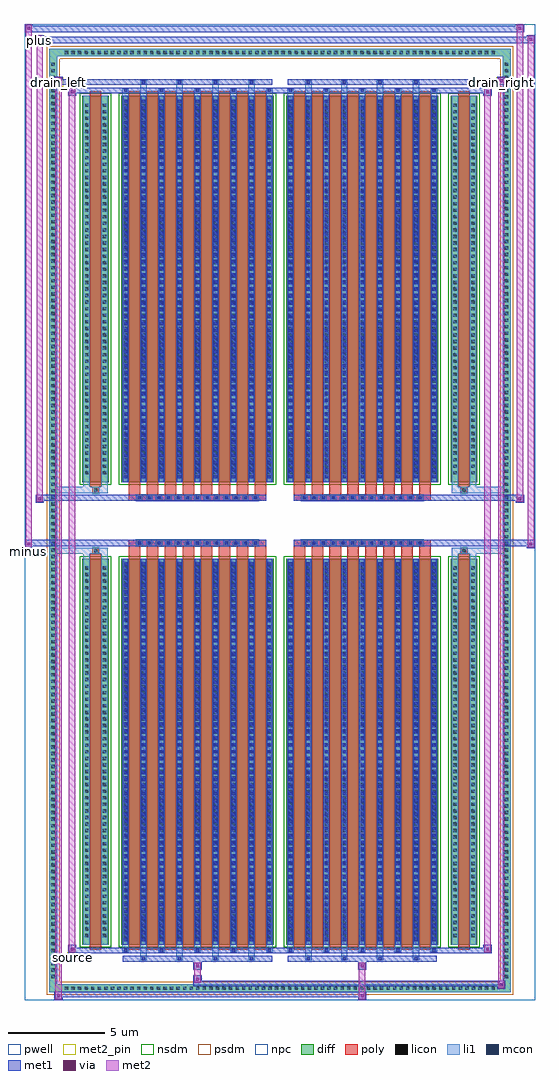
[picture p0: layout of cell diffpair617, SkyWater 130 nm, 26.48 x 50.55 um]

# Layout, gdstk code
import gdstk
lib = gdstk.Library(unit=1e-6, precision=5e-09)
def R(c, l, rs):  # rectangles x0, y0, x1, y1
    for r in rs: c.add(gdstk.rectangle(r[:2], r[2:], *l))
def A(c, l, x, y, w, h, nx, ny, dx, dy):  # array of equal rectangles
    R(c, l, [(x+i*dx, y+j*dy, x+i*dx+w, y+j*dy+h) for i in range(nx) for j in range(ny)])
def P(c, l, *ps):  # polygons
    for p in ps: c.add(gdstk.Polygon(p, *l))
pwell = (64, 44)
diff = (65, 20)
poly = (66, 20)
licon = (66, 44)
li1 = (67, 20)
mcon = (67, 44)
met1 = (68, 20)
via = (68, 44)
met2_pin = (69, 16)
met2 = (69, 20)
nsdm = (93, 44)
psdm = (94, 20)
npc = (95, 20)

diffpair617 = lib.new_cell('diffpair617')
R(diffpair617, pwell, [(-13.22,-24.84,13.22,25.71), (-10.54,-23.03,-0.01,-0.805), (0.01,-23.03,10.54,-0.805), (-10.54,0.805,-0.01,23.03), (0.01,0.805,10.54,23.03)])
A(diffpair617, diff, -11.255, -24.44, 0.41, 0.41, 66, 2, 0.34, 48.47)
A(diffpair617, diff, -11.95, -23.835, 0.41, 0.41, 1, 140, 0, 0.34)
A(diffpair617, diff, 11.54, -23.835, 0.41, 0.41, 1, 140, 0, 0.34)
R(diffpair617, diff, [(-11.255,-24.44,11.255,-24.03), (-11.95,-23.835,-11.54,23.835), (11.54,-23.835,11.95,23.835), (-10.23,-21.985,-8.85,-1.985), (-8.21,-21.985,-0.32,-1.985), (0.32,-21.985,8.21,-1.985), (8.85,-21.985,10.23,-1.985), (-10.23,1.985,-8.85,21.985), (-8.21,1.985,-0.32,21.985), (0.32,1.985,8.21,21.985), (8.85,1.985,10.23,21.985), (-11.255,24.03,11.255,24.44)])
P(diffpair617, diff, [(11.95,24.44),(-11.95,24.44),(-11.95,-24.03),(-11.54,-24.03),(-11.54,24.03),(11.54,24.03),(11.54,-24.03),(-11.54,-24.03),(-11.95,-24.03),(-11.95,-24.44),(11.95,-24.44)])
A(diffpair617, poly, -7.82, -22.235, 0.6, 20.5, 8, 2, 0.93, 23.97)
A(diffpair617, poly, 0.71, -22.235, 0.6, 20.5, 8, 2, 0.93, 23.97)
A(diffpair617, poly, -7.82, -1.735, 0.6, 0.4, 8, 2, 0.93, 3.07)
A(diffpair617, poly, 0.71, -1.735, 0.6, 0.4, 8, 2, 0.93, 3.07)
A(diffpair617, poly, -7.43, -1.335, 0.33, 0.33, 13, 2, 0.5, 2.34)
A(diffpair617, poly, 1.1, -1.335, 0.33, 0.33, 13, 2, 0.5, 2.34)
R(diffpair617, poly, [(-9.84,-22.235,-9.24,-1.735), (9.24,-22.235,9.84,-1.735), (-9.705,-1.735,-9.375,-1.405), (-9.705,-1.735,-9.375,-1.405), (9.375,-1.735,9.705,-1.405), (9.375,-1.735,9.705,-1.405), (-7.82,-1.335,-0.71,-1.005), (0.71,-1.335,7.82,-1.005), (-7.82,1.005,-0.71,1.335), (0.71,1.005,7.82,1.335), (-9.705,1.405,-9.375,1.735), (-9.705,1.405,-9.375,1.735), (9.375,1.405,9.705,1.735), (9.375,1.405,9.705,1.735), (-9.84,1.735,-9.24,22.235), (9.24,1.735,9.84,22.235)])
A(diffpair617, licon, -11.135, -24.32, 0.17, 0.17, 66, 2, 0.34, 48.47)
A(diffpair617, licon, -11.83, -23.715, 0.17, 0.17, 1, 140, 0, 0.34)
A(diffpair617, licon, 11.66, -23.715, 0.17, 0.17, 1, 140, 0, 0.34)
A(diffpair617, licon, -10.09, -21.59, 0.17, 0.17, 1, 57, 0, 0.34)
A(diffpair617, licon, -9.16, -21.59, 0.17, 0.17, 1, 57, 0, 0.34)
A(diffpair617, licon, -8.07, -21.59, 0.17, 0.17, 9, 57, 0.93, 0.34)
A(diffpair617, licon, 0.46, -21.59, 0.17, 0.17, 9, 57, 0.93, 0.34)
A(diffpair617, licon, 8.99, -21.59, 0.17, 0.17, 1, 57, 0, 0.34)
A(diffpair617, licon, 9.92, -21.59, 0.17, 0.17, 1, 57, 0, 0.34)
A(diffpair617, licon, -7.35, -1.255, 0.17, 0.17, 13, 2, 0.5, 2.34)
A(diffpair617, licon, 1.18, -1.255, 0.17, 0.17, 13, 2, 0.5, 2.34)
A(diffpair617, licon, -10.09, 2.38, 0.17, 0.17, 1, 57, 0, 0.34)
A(diffpair617, licon, -9.16, 2.38, 0.17, 0.17, 1, 57, 0, 0.34)
A(diffpair617, licon, -8.07, 2.38, 0.17, 0.17, 9, 57, 0.93, 0.34)
A(diffpair617, licon, 0.46, 2.38, 0.17, 0.17, 9, 57, 0.93, 0.34)
A(diffpair617, licon, 8.99, 2.38, 0.17, 0.17, 1, 57, 0, 0.34)
A(diffpair617, licon, 9.92, 2.38, 0.17, 0.17, 1, 57, 0, 0.34)
R(diffpair617, licon, [(-9.625,-1.655,-9.455,-1.485), (9.455,-1.655,9.625,-1.485), (-9.625,1.485,-9.455,1.655), (9.455,1.485,9.625,1.655)])
A(diffpair617, li1, -11.215, -24.4, 0.33, 0.33, 66, 2, 0.34, 48.47)
A(diffpair617, li1, -11.91, -23.795, 0.33, 0.33, 1, 140, 0, 0.34)
A(diffpair617, li1, 11.58, -23.795, 0.33, 0.33, 1, 140, 0, 0.34)
A(diffpair617, li1, -7.22, -22.79, 0.33, 0.805, 4, 2, 1.86, 44.775)
A(diffpair617, li1, -7.14, -22.79, 0.17, 0.17, 4, 2, 1.86, 45.41)
A(diffpair617, li1, 1.31, -22.79, 0.33, 0.805, 4, 2, 1.86, 44.775)
A(diffpair617, li1, 1.39, -22.79, 0.17, 0.17, 4, 2, 1.86, 45.41)
A(diffpair617, li1, -8.15, -22.36, 0.33, 0.375, 5, 2, 1.86, 44.345)
A(diffpair617, li1, -8.07, -22.36, 0.17, 0.17, 5, 2, 1.86, 44.55)
A(diffpair617, li1, 0.38, -22.36, 0.33, 0.375, 5, 2, 1.86, 44.345)
A(diffpair617, li1, 0.46, -22.36, 0.17, 0.17, 5, 2, 1.86, 44.55)
A(diffpair617, li1, -8.15, -21.985, 0.33, 20, 9, 2, 0.93, 23.97)
A(diffpair617, li1, 0.38, -21.985, 0.33, 20, 9, 2, 0.93, 23.97)
A(diffpair617, li1, -8.07, -21.79, 0.17, 0.17, 9, 55, 0.93, 0.36)
A(diffpair617, li1, -8.07, -21.79, 0.17, 19.61, 9, 2, 0.93, 23.97)
A(diffpair617, li1, 0.46, -21.79, 0.17, 0.17, 9, 55, 0.93, 0.36)
A(diffpair617, li1, 0.46, -21.79, 0.17, 19.61, 9, 2, 0.93, 23.97)
A(diffpair617, li1, -10.17, -21.67, 0.33, 0.33, 1, 57, 0, 0.34)
A(diffpair617, li1, -9.24, -21.67, 0.33, 0.33, 1, 57, 0, 0.34)
A(diffpair617, li1, -8.15, -21.67, 0.33, 0.33, 9, 57, 0.93, 0.34)
A(diffpair617, li1, 0.38, -21.67, 0.33, 0.33, 9, 57, 0.93, 0.34)
A(diffpair617, li1, 8.91, -21.67, 0.33, 0.33, 1, 57, 0, 0.34)
A(diffpair617, li1, 9.84, -21.67, 0.33, 0.33, 1, 57, 0, 0.34)
A(diffpair617, li1, -7.43, -1.335, 0.33, 0.33, 13, 2, 0.5, 2.34)
A(diffpair617, li1, 1.1, -1.335, 0.33, 0.33, 13, 2, 0.5, 2.34)
A(diffpair617, li1, -8.07, 2.18, 0.17, 0.17, 9, 55, 0.93, 0.36)
A(diffpair617, li1, 0.46, 2.18, 0.17, 0.17, 9, 55, 0.93, 0.36)
A(diffpair617, li1, -10.17, 2.3, 0.33, 0.33, 1, 57, 0, 0.34)
A(diffpair617, li1, -9.24, 2.3, 0.33, 0.33, 1, 57, 0, 0.34)
A(diffpair617, li1, -8.15, 2.3, 0.33, 0.33, 9, 57, 0.93, 0.34)
A(diffpair617, li1, 0.38, 2.3, 0.33, 0.33, 9, 57, 0.93, 0.34)
A(diffpair617, li1, 8.91, 2.3, 0.33, 0.33, 1, 57, 0, 0.34)
A(diffpair617, li1, 9.84, 2.3, 0.33, 0.33, 1, 57, 0, 0.34)
R(diffpair617, li1, [(-11.95,-24.44,-11.54,-24.03), (-11.95,-24.44,-11.54,-24.03), (-11.54,-24.44,11.54,-24.03), (11.54,-24.44,11.95,-24.03), (11.54,-24.44,11.95,-24.03), (-11.95,-24.03,-11.54,24.03), (11.54,-24.03,11.95,24.03), (-10.17,-21.985,-9.84,-1.985), (-9.24,-21.985,-8.91,-1.985), (8.91,-21.985,9.24,-1.985), (9.84,-21.985,10.17,-1.985), (-10.17,-1.985,-9.84,-1.405), (-9.24,-1.985,-8.91,-1.405), (8.91,-1.985,9.24,-1.405), (9.84,-1.985,10.17,-1.405), (-11.95,-1.735,-9.705,-1.405), (-10.17,-1.735,-9.705,-1.405), (-9.705,-1.735,-9.375,-1.405), (-9.375,-1.735,-8.91,-1.405), (8.91,-1.735,9.375,-1.405), (9.375,-1.735,9.705,-1.405), (9.375,-1.735,11.95,-1.405), (9.705,-1.735,10.17,-1.405), (-11.95,1.405,-9.705,1.735), (-10.17,1.405,-9.705,1.735), (-10.17,1.405,-9.84,1.985), (-9.705,1.405,-9.375,1.735), (-9.375,1.405,-8.91,1.735), (-9.24,1.405,-8.91,1.985), (8.91,1.405,9.375,1.735), (8.91,1.405,9.24,1.985), (9.375,1.405,9.705,1.735), (9.375,1.405,11.95,1.735), (9.705,1.405,10.17,1.735), (9.84,1.405,10.17,1.985), (-10.17,1.985,-9.84,21.985), (-9.24,1.985,-8.91,21.985), (8.91,1.985,9.24,21.985), (9.84,1.985,10.17,21.985), (-11.95,24.03,-11.54,24.44), (-11.95,24.03,-11.54,24.44), (-11.54,24.03,11.54,24.44), (11.54,24.03,11.95,24.44), (11.54,24.03,11.95,24.44)])
A(diffpair617, mcon, -7.14, -22.79, 0.17, 0.17, 4, 2, 1.86, 45.41)
A(diffpair617, mcon, 1.39, -22.79, 0.17, 0.17, 4, 2, 1.86, 45.41)
A(diffpair617, mcon, -8.07, -22.36, 0.17, 0.17, 5, 2, 1.86, 44.55)
A(diffpair617, mcon, 0.46, -22.36, 0.17, 0.17, 5, 2, 1.86, 44.55)
A(diffpair617, mcon, -8.07, -21.79, 0.17, 0.17, 9, 55, 0.93, 0.36)
A(diffpair617, mcon, 0.46, -21.79, 0.17, 0.17, 9, 55, 0.93, 0.36)
A(diffpair617, mcon, -7.35, -1.255, 0.17, 0.17, 13, 2, 0.5, 2.34)
A(diffpair617, mcon, 1.18, -1.255, 0.17, 0.17, 13, 2, 0.5, 2.34)
A(diffpair617, mcon, -8.07, 2.18, 0.17, 0.17, 9, 55, 0.93, 0.36)
A(diffpair617, mcon, 0.46, 2.18, 0.17, 0.17, 9, 55, 0.93, 0.36)
A(diffpair617, met1, -7.2, -22.85, 0.29, 0.29, 4, 2, 1.86, 45.41)
A(diffpair617, met1, 1.33, -22.85, 0.29, 0.29, 4, 2, 1.86, 45.41)
A(diffpair617, met1, -8.13, -22.42, 0.29, 0.29, 5, 2, 1.86, 44.55)
A(diffpair617, met1, 0.4, -22.42, 0.29, 0.29, 5, 2, 1.86, 44.55)
A(diffpair617, met1, -8.13, -21.985, 0.29, 20, 9, 2, 0.93, 23.97)
A(diffpair617, met1, 0.4, -21.985, 0.29, 20, 9, 2, 0.93, 23.97)
A(diffpair617, met1, -8.13, -21.85, 0.29, 0.29, 9, 55, 0.93, 0.36)
A(diffpair617, met1, 0.4, -21.85, 0.29, 0.29, 9, 55, 0.93, 0.36)
A(diffpair617, met1, -7.41, -1.315, 0.29, 0.29, 13, 2, 0.5, 2.34)
A(diffpair617, met1, 1.12, -1.315, 0.29, 0.29, 13, 2, 0.5, 2.34)
A(diffpair617, met1, -8.13, 2.12, 0.29, 0.29, 9, 55, 0.93, 0.36)
A(diffpair617, met1, 0.4, 2.12, 0.29, 0.29, 9, 55, 0.93, 0.36)
R(diffpair617, met1, [(-11.68,-24.84,-11.25,-24.41), (4.05,-24.84,4.48,-24.41), (-11.68,-24.7,4.48,-24.41), (11.25,-24.27,11.68,-23.84), (-4.48,-24.13,11.68,-23.84), (-4.48,-23.99,-4.05,-23.56), (-4.48,-23.28,-4.05,-22.85), (4.05,-23.28,4.48,-22.85), (-8.13,-22.85,-0.4,-22.56), (0.4,-22.85,8.13,-22.56), (-10.97,-22.42,-10.54,-21.99), (-10.97,-22.42,-8.13,-22.13), (-8.13,-22.42,-0.4,-22.13), (-0.4,-22.42,0.4,-22.13), (0.4,-22.42,8.13,-22.13), (8.13,-22.42,10.97,-22.13), (10.54,-22.42,10.97,-21.99), (-13.22,-1.435,-12.79,-1.005), (12.79,-1.435,13.22,-1.005), (-13.22,-1.335,-0.71,-1.005), (-7.82,-1.335,-0.71,-1.005), (0.71,-1.335,7.82,-1.005), (0.71,-1.335,13.22,-1.005), (-12.65,0.905,-12.22,1.335), (12.22,0.905,12.65,1.335), (-12.65,1.005,-7.82,1.335), (-7.82,1.005,-0.71,1.335), (0.71,1.005,7.82,1.335), (7.82,1.005,12.65,1.335), (-10.97,21.99,-10.54,22.42), (10.54,21.99,10.97,22.42), (-10.97,22.13,-8.13,22.42), (-8.13,22.13,-0.4,22.42), (-0.4,22.13,0.4,22.42), (0.4,22.13,8.13,22.42), (8.13,22.13,10.97,22.42), (-11.68,22.56,-11.25,22.99), (-11.68,22.56,-8.13,22.85), (-8.13,22.56,-0.4,22.85), (0.4,22.56,8.13,22.85), (8.13,22.56,11.68,22.85), (11.25,22.56,11.68,22.99), (-12.65,24.71,-12.22,25.14), (-12.65,24.71,-10.54,25.04), (-10.54,24.71,10.54,25.04), (10.54,24.71,13.22,25.04), (12.79,24.71,13.22,25.14), (-13.22,25.28,-12.79,25.71), (-13.22,25.28,-10.54,25.61), (-10.54,25.28,10.54,25.61), (10.54,25.28,12.65,25.61), (12.22,25.28,12.65,25.71)])
R(diffpair617, via, [(-11.54,-24.7,-11.39,-24.55), (4.19,-24.7,4.34,-24.55), (11.39,-24.13,11.54,-23.98), (-4.34,-23.85,-4.19,-23.7), (-4.34,-23.14,-4.19,-22.99), (4.19,-23.14,4.34,-22.99), (-10.83,-22.28,-10.68,-22.13), (10.68,-22.28,10.83,-22.13), (-13.08,-1.295,-12.93,-1.145), (12.93,-1.295,13.08,-1.145), (-12.51,1.045,-12.36,1.195), (12.36,1.045,12.51,1.195), (-10.83,22.13,-10.68,22.28), (10.68,22.13,10.83,22.28), (-11.54,22.7,-11.39,22.85), (11.39,22.7,11.54,22.85), (-12.51,24.85,-12.36,25), (12.93,24.85,13.08,25), (-13.08,25.42,-12.93,25.57), (12.36,25.42,12.51,25.57)])
R(diffpair617, met2_pin, [(-11.005,-22.87,-10.505,-22.37), (-13.255,-1.885,-12.755,-1.385), (-11.715,22.44,-11.215,22.94), (11.215,22.44,11.715,22.94), (-12.685,24.59,-12.185,25.09)])
R(diffpair617, met2, [(-11.63,-24.79,-11.3,-24.46), (-11.63,-24.79,-11.3,22.94), (4.1,-24.79,4.43,-24.46), (4.1,-24.46,4.43,-23.23), (11.3,-24.22,11.63,-23.89), (11.3,-24.22,11.63,22.94), (-4.43,-23.94,-4.1,-23.61), (-4.43,-23.61,-4.1,-23.23), (-4.43,-23.23,-4.1,-22.9), (4.1,-23.23,4.43,-22.9), (-10.92,-22.37,-10.59,-22.04), (-10.92,-22.37,-10.59,22.37), (10.59,-22.37,10.92,-22.04), (10.59,-22.37,10.92,22.37), (-13.17,-1.385,-12.84,-1.055), (-13.17,-1.385,-12.84,25.66), (12.84,-1.385,13.17,-1.055), (12.84,-1.385,13.17,25.09), (-12.6,0.955,-12.27,1.285), (-12.6,0.955,-12.27,25.09), (12.27,0.955,12.6,1.285), (12.27,0.955,12.6,25.66), (-10.92,22.04,-10.59,22.37), (10.59,22.04,10.92,22.37), (-11.63,22.61,-11.3,22.94), (11.3,22.61,11.63,22.94), (-12.6,24.76,-12.27,25.09), (12.84,24.76,13.17,25.09), (-13.17,25.33,-12.84,25.66), (12.27,25.33,12.6,25.66)])
P(diffpair617, met2, [(13.17,-1.385),(13.17,-1.385),(13.17,-1.055),(13.17,-1.055)],
  [(13.17,24.76),(13.17,24.76),(13.17,25.09),(13.17,25.09)],
  [(-12.84,-1.385),(-12.84,-1.385),(-12.84,-1.055),(-12.84,-1.055)],
  [(-12.84,25.33),(-12.84,25.33),(-12.84,25.66),(-12.84,25.66)],
  [(12.6,0.955),(12.6,0.955),(12.6,1.285),(12.6,1.285)],
  [(12.6,25.33),(12.6,25.33),(12.6,25.66),(12.6,25.66)],
  [(-12.27,0.955),(-12.27,0.955),(-12.27,1.285),(-12.27,1.285)],
  [(-12.27,24.76),(-12.27,24.76),(-12.27,25.09),(-12.27,25.09)],
  [(-11.3,-24.79),(-11.3,-24.79),(-11.3,-24.46),(-11.3,-24.46)],
  [(-11.3,22.61),(-11.3,22.61),(-11.3,22.94),(-11.3,22.94)],
  [(11.63,-24.22),(11.63,-24.22),(11.63,-23.89),(11.63,-23.89)],
  [(11.63,22.61),(11.63,22.61),(11.63,22.94),(11.63,22.94)],
  [(-10.59,-22.37),(-10.59,-22.37),(-10.59,-22.04),(-10.59,-22.04)],
  [(-10.59,22.04),(-10.59,22.04),(-10.59,22.37),(-10.59,22.37)],
  [(10.92,-22.37),(10.92,-22.37),(10.92,-22.04),(10.92,-22.04)],
  [(10.92,22.04),(10.92,22.04),(10.92,22.37),(10.92,22.37)])
R(diffpair617, nsdm, [(-10.36,-22.115,-8.72,-1.855), (-8.34,-22.115,-0.19,-1.855), (0.19,-22.115,8.34,-1.855), (8.72,-22.115,10.36,-1.855), (-10.36,1.855,-8.72,22.115), (-8.34,1.855,-0.19,22.115), (0.19,1.855,8.34,22.115), (8.72,1.855,10.36,22.115)])
P(diffpair617, psdm, [(12.08,24.57),(-12.08,24.57),(-12.08,-23.9),(-11.41,-23.9),(-11.41,23.9),(11.41,23.9),(11.41,-23.9),(-11.41,-23.9),(-12.08,-23.9),(-12.08,-24.57),(12.08,-24.57)])
A(diffpair617, npc, -7.45, -1.355, 0.37, 0.37, 13, 2, 0.5, 2.34)
A(diffpair617, npc, 1.08, -1.355, 0.37, 0.37, 13, 2, 0.5, 2.34)
R(diffpair617, npc, [(-9.725,-1.755,-9.355,-1.385), (9.355,-1.755,9.725,-1.385), (-7.45,-1.355,-6.58,-0.985), (-7.45,-1.355,-6.58,-0.985), (-6.95,-1.355,-6.08,-0.985), (-6.95,-1.355,-6.08,-0.985), (-6.45,-1.355,-5.58,-0.985), (-6.45,-1.355,-5.58,-0.985), (-5.95,-1.355,-5.08,-0.985), (-5.95,-1.355,-5.08,-0.985), (-5.45,-1.355,-4.58,-0.985), (-5.45,-1.355,-4.58,-0.985), (-4.95,-1.355,-4.08,-0.985), (-4.95,-1.355,-4.08,-0.985), (-4.45,-1.355,-3.58,-0.985), (-4.45,-1.355,-3.58,-0.985), (-3.95,-1.355,-3.08,-0.985), (-3.95,-1.355,-3.08,-0.985), (-3.45,-1.355,-2.58,-0.985), (-3.45,-1.355,-2.58,-0.985), (-2.95,-1.355,-2.08,-0.985), (-2.95,-1.355,-2.08,-0.985), (-2.45,-1.355,-1.58,-0.985), (-2.45,-1.355,-1.58,-0.985), (-1.95,-1.355,-1.08,-0.985), (-1.95,-1.355,-1.08,-0.985), (1.08,-1.355,1.95,-0.985), (1.08,-1.355,1.95,-0.985), (1.58,-1.355,2.45,-0.985), (1.58,-1.355,2.45,-0.985), (2.08,-1.355,2.95,-0.985), (2.08,-1.355,2.95,-0.985), (2.58,-1.355,3.45,-0.985), (2.58,-1.355,3.45,-0.985), (3.08,-1.355,3.95,-0.985), (3.08,-1.355,3.95,-0.985), (3.58,-1.355,4.45,-0.985), (3.58,-1.355,4.45,-0.985), (4.08,-1.355,4.95,-0.985), (4.08,-1.355,4.95,-0.985), (4.58,-1.355,5.45,-0.985), (4.58,-1.355,5.45,-0.985), (5.08,-1.355,5.95,-0.985), (5.08,-1.355,5.95,-0.985), (5.58,-1.355,6.45,-0.985), (5.58,-1.355,6.45,-0.985), (6.08,-1.355,6.95,-0.985), (6.08,-1.355,6.95,-0.985), (6.58,-1.355,7.45,-0.985), (6.58,-1.355,7.45,-0.985), (-7.45,0.985,-6.58,1.355), (-7.45,0.985,-6.58,1.355), (-6.95,0.985,-6.08,1.355), (-6.95,0.985,-6.08,1.355), (-6.45,0.985,-5.58,1.355), (-6.45,0.985,-5.58,1.355), (-5.95,0.985,-5.08,1.355), (-5.95,0.985,-5.08,1.355), (-5.45,0.985,-4.58,1.355), (-5.45,0.985,-4.58,1.355), (-4.95,0.985,-4.08,1.355), (-4.95,0.985,-4.08,1.355), (-4.45,0.985,-3.58,1.355), (-4.45,0.985,-3.58,1.355), (-3.95,0.985,-3.08,1.355), (-3.95,0.985,-3.08,1.355), (-3.45,0.985,-2.58,1.355), (-3.45,0.985,-2.58,1.355), (-2.95,0.985,-2.08,1.355), (-2.95,0.985,-2.08,1.355), (-2.45,0.985,-1.58,1.355), (-2.45,0.985,-1.58,1.355), (-1.95,0.985,-1.08,1.355), (-1.95,0.985,-1.08,1.355), (1.08,0.985,1.95,1.355), (1.08,0.985,1.95,1.355), (1.58,0.985,2.45,1.355), (1.58,0.985,2.45,1.355), (2.08,0.985,2.95,1.355), (2.08,0.985,2.95,1.355), (2.58,0.985,3.45,1.355), (2.58,0.985,3.45,1.355), (3.08,0.985,3.95,1.355), (3.08,0.985,3.95,1.355), (3.58,0.985,4.45,1.355), (3.58,0.985,4.45,1.355), (4.08,0.985,4.95,1.355), (4.08,0.985,4.95,1.355), (4.58,0.985,5.45,1.355), (4.58,0.985,5.45,1.355), (5.08,0.985,5.95,1.355), (5.08,0.985,5.95,1.355), (5.58,0.985,6.45,1.355), (5.58,0.985,6.45,1.355), (6.08,0.985,6.95,1.355), (6.08,0.985,6.95,1.355), (6.58,0.985,7.45,1.355), (6.58,0.985,7.45,1.355), (-9.725,1.385,-9.355,1.755), (9.355,1.385,9.725,1.755)])
diffpair617.add(gdstk.Label('minus', (-13.005,-1.635), layer=69, texttype=5))
diffpair617.add(gdstk.Label('drain_right', (11.465,22.69), layer=69, texttype=5))
diffpair617.add(gdstk.Label('drain_left', (-11.465,22.69), layer=69, texttype=5))
diffpair617.add(gdstk.Label('source', (-10.755,-22.62), layer=69, texttype=5))
diffpair617.add(gdstk.Label('plus', (-12.435,24.84), layer=69, texttype=5))

lib.write_gds('diffpair617.gds')
